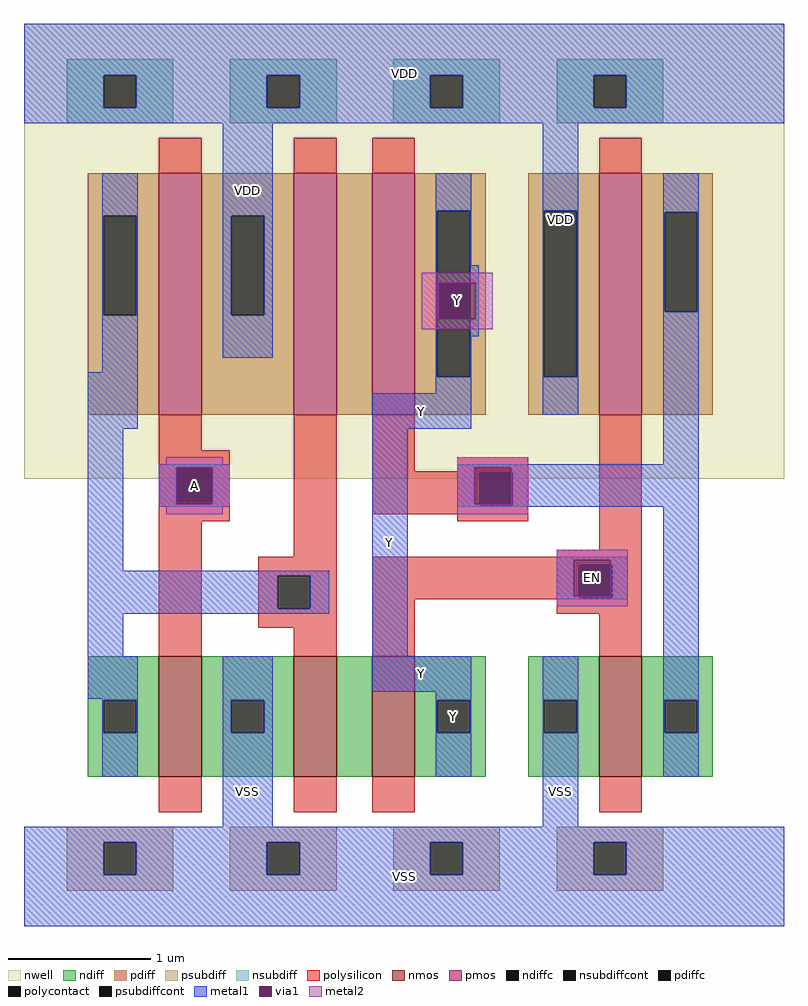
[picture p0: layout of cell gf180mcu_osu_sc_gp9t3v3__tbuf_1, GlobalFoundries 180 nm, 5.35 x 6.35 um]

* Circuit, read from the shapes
.subckt gf180mcu_osu_sc_gp9t3v3__tbuf_1 A Y EN VDD VSS
XM1 VSS A n1 VSS nfet_03v3 w=0.85u l=0.3u
XM2 n2 n1 VSS VSS nfet_03v3 w=0.85u l=0.3u
XM3 Y EN n2 VSS nfet_03v3 w=0.85u l=0.3u
XM4 n3 EN VSS VSS nfet_03v3 w=0.85u l=0.3u
XM5 VDD A n1 VDD pfet_03v3 w=1.7u l=0.3u
XM6 n4 n1 VDD VDD pfet_03v3 w=1.7u l=0.3u
XM7 Y n3 n4 VDD pfet_03v3 w=1.7u l=0.3u
XM8 n3 EN VDD VDD pfet_03v3 w=1.7u l=0.3u
.ends

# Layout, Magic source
magic
tech gf180mcuA
magscale 1 10
<< nwell >>
rect 0 630 1070 1270
<< nmos >>
rect 190 210 250 380
rect 380 210 440 380
rect 490 210 550 380
rect 810 210 870 380
<< pmos >>
rect 190 720 250 1060
rect 380 720 440 1060
rect 490 720 550 1060
rect 810 720 870 1060
<< ndiff >>
rect 90 318 190 380
rect 90 272 112 318
rect 158 272 190 318
rect 90 210 190 272
rect 250 318 380 380
rect 250 272 292 318
rect 338 272 380 318
rect 250 210 380 272
rect 440 210 490 380
rect 550 318 650 380
rect 550 272 582 318
rect 628 272 650 318
rect 550 210 650 272
rect 710 318 810 380
rect 710 272 732 318
rect 778 272 810 318
rect 710 210 810 272
rect 870 318 970 380
rect 870 272 902 318
rect 948 272 970 318
rect 870 210 970 272
<< pdiff >>
rect 90 1000 190 1060
rect 90 860 112 1000
rect 158 860 190 1000
rect 90 720 190 860
rect 250 1000 380 1060
rect 250 860 292 1000
rect 338 860 380 1000
rect 250 720 380 860
rect 440 720 490 1060
rect 550 1007 650 1060
rect 550 773 582 1007
rect 628 773 650 1007
rect 550 720 650 773
rect 710 1007 810 1060
rect 710 773 732 1007
rect 778 773 810 1007
rect 710 720 810 773
rect 870 1005 970 1060
rect 870 865 902 1005
rect 948 865 970 1005
rect 870 720 970 865
<< ndiffc >>
rect 112 272 158 318
rect 292 272 338 318
rect 582 272 628 318
rect 732 272 778 318
rect 902 272 948 318
<< pdiffc >>
rect 112 860 158 1000
rect 292 860 338 1000
rect 582 773 628 1007
rect 732 773 778 1007
rect 902 865 948 1005
<< psubdiff >>
rect 60 118 210 140
rect 60 72 112 118
rect 158 72 210 118
rect 60 50 210 72
rect 290 118 440 140
rect 290 72 342 118
rect 388 72 440 118
rect 290 50 440 72
rect 520 118 670 140
rect 520 72 572 118
rect 618 72 670 118
rect 520 50 670 72
rect 750 118 900 140
rect 750 72 802 118
rect 848 72 900 118
rect 750 50 900 72
<< nsubdiff >>
rect 60 1198 210 1220
rect 60 1152 112 1198
rect 158 1152 210 1198
rect 60 1130 210 1152
rect 290 1198 440 1220
rect 290 1152 342 1198
rect 388 1152 440 1198
rect 290 1130 440 1152
rect 520 1198 670 1220
rect 520 1152 572 1198
rect 618 1152 670 1198
rect 520 1130 670 1152
rect 750 1198 900 1220
rect 750 1152 802 1198
rect 848 1152 900 1198
rect 750 1130 900 1152
<< psubdiffcont >>
rect 112 72 158 118
rect 342 72 388 118
rect 572 72 618 118
rect 802 72 848 118
<< nsubdiffcont >>
rect 112 1152 158 1198
rect 342 1152 388 1198
rect 572 1152 618 1198
rect 802 1152 848 1198
<< polysilicon >>
rect 190 1060 250 1110
rect 380 1060 440 1110
rect 490 1060 550 1110
rect 810 1060 870 1110
rect 190 670 250 720
rect 190 643 290 670
rect 190 597 217 643
rect 263 597 290 643
rect 190 570 290 597
rect 190 380 250 570
rect 380 520 440 720
rect 490 640 550 720
rect 610 640 710 660
rect 490 638 710 640
rect 490 592 642 638
rect 688 592 710 638
rect 490 580 710 592
rect 610 570 710 580
rect 810 530 870 720
rect 750 520 870 530
rect 330 493 440 520
rect 330 447 357 493
rect 403 447 440 493
rect 330 420 440 447
rect 380 380 440 420
rect 490 508 870 520
rect 490 462 782 508
rect 828 462 870 508
rect 490 460 870 462
rect 490 380 550 460
rect 750 440 870 460
rect 810 380 870 440
rect 190 160 250 210
rect 380 160 440 210
rect 490 160 550 210
rect 810 160 870 210
<< polycontact >>
rect 217 597 263 643
rect 642 592 688 638
rect 357 447 403 493
rect 782 462 828 508
<< metal1 >>
rect 0 1198 1070 1270
rect 0 1152 112 1198
rect 158 1152 342 1198
rect 388 1152 572 1198
rect 618 1152 802 1198
rect 848 1152 1070 1198
rect 0 1130 1070 1152
rect 110 1000 160 1060
rect 110 860 112 1000
rect 158 860 160 1000
rect 110 780 160 860
rect 280 1000 350 1130
rect 280 860 292 1000
rect 338 860 350 1000
rect 280 800 350 860
rect 580 1007 630 1060
rect 90 700 160 780
rect 580 773 582 1007
rect 628 930 630 1007
rect 730 1007 780 1130
rect 628 906 640 930
rect 636 854 640 906
rect 628 830 640 854
rect 628 773 630 830
rect 580 750 630 773
rect 490 700 630 750
rect 730 773 732 1007
rect 778 773 780 1007
rect 730 720 780 773
rect 900 1005 950 1060
rect 900 865 902 1005
rect 948 865 950 1005
rect 90 500 140 700
rect 190 646 290 650
rect 190 594 214 646
rect 266 594 290 646
rect 190 590 290 594
rect 90 493 430 500
rect 90 447 357 493
rect 403 447 430 493
rect 90 440 430 447
rect 90 380 140 440
rect 490 380 540 700
rect 900 650 950 865
rect 610 646 950 650
rect 610 594 634 646
rect 686 638 950 646
rect 610 592 642 594
rect 688 592 950 638
rect 610 590 950 592
rect 750 516 850 520
rect 750 464 774 516
rect 826 508 850 516
rect 750 462 782 464
rect 828 462 850 508
rect 750 460 850 462
rect 90 320 160 380
rect 110 318 160 320
rect 110 272 112 318
rect 158 272 160 318
rect 110 210 160 272
rect 280 318 350 380
rect 490 330 630 380
rect 280 272 292 318
rect 338 272 350 318
rect 280 140 350 272
rect 580 318 630 330
rect 580 272 582 318
rect 628 272 630 318
rect 580 210 630 272
rect 730 318 780 380
rect 730 272 732 318
rect 778 272 780 318
rect 730 140 780 272
rect 900 318 950 590
rect 900 272 902 318
rect 948 272 950 318
rect 900 210 950 272
rect 0 118 1070 140
rect 0 72 112 118
rect 158 72 342 118
rect 388 72 572 118
rect 618 72 802 118
rect 848 72 1070 118
rect 0 0 1070 72
<< via1 >>
rect 584 854 628 906
rect 628 854 636 906
rect 214 643 266 646
rect 214 597 217 643
rect 217 597 263 643
rect 263 597 266 643
rect 214 594 266 597
rect 634 638 686 646
rect 634 594 642 638
rect 642 594 686 638
rect 774 508 826 516
rect 774 464 782 508
rect 782 464 826 508
<< metal2 >>
rect 560 906 660 920
rect 560 854 584 906
rect 636 854 660 906
rect 560 840 660 854
rect 200 650 280 660
rect 190 646 290 650
rect 190 594 214 646
rect 266 594 290 646
rect 190 590 290 594
rect 610 646 710 660
rect 610 594 634 646
rect 686 594 710 646
rect 200 580 280 590
rect 610 580 710 594
rect 750 516 850 530
rect 750 464 774 516
rect 826 464 850 516
rect 750 450 850 464
<< labels >>
rlabel via1 s 214 594 266 646 4 A
port 1 nsew signal input
rlabel via1 s 584 854 636 906 4 Y
port 2 nsew signal output
rlabel via1 s 774 464 826 516 4 EN
port 3 nsew signal input
rlabel metal1 s 280 800 350 1270 4 VDD
port 4 nsew power bidirectional abutment
rlabel metal1 s 280 0 350 380 4 VSS
port 5 nsew ground bidirectional abutment
rlabel metal1 s 730 720 780 1270 1 VDD
port 4 nsew power bidirectional abutment
rlabel metal1 s 0 1130 1070 1270 1 VDD
port 4 nsew power bidirectional abutment
rlabel metal1 s 730 0 780 380 1 VSS
port 5 nsew ground bidirectional abutment
rlabel metal1 s 0 0 1070 140 1 VSS
port 5 nsew ground bidirectional abutment
rlabel metal2 s 200 580 280 660 1 A
port 1 nsew signal input
rlabel metal2 s 190 590 290 650 1 A
port 1 nsew signal input
rlabel metal1 s 190 590 290 650 1 A
port 1 nsew signal input
rlabel metal2 s 750 450 850 530 1 EN
port 3 nsew signal input
rlabel metal1 s 750 460 850 520 1 EN
port 3 nsew signal input
rlabel metal2 s 560 840 660 920 1 Y
port 2 nsew signal output
rlabel metal1 s 490 330 540 750 1 Y
port 2 nsew signal output
rlabel metal1 s 490 700 630 750 1 Y
port 2 nsew signal output
rlabel metal1 s 580 210 630 380 1 Y
port 2 nsew signal output
rlabel metal1 s 490 330 630 380 1 Y
port 2 nsew signal output
rlabel metal1 s 580 700 630 1060 1 Y
port 2 nsew signal output
rlabel metal1 s 580 830 640 930 1 Y
port 2 nsew signal output
<< properties >>
string FIXED_BBOX 0 0 1070 1270
string GDS_END 367416
string GDS_FILE $PDKPATH/libs.ref/gf180mcu_osu_sc_gp9t3v3/gds/gf180mcu_osu_sc_gp9t3v3.gds
string GDS_START 360498
string LEFclass CORE
string LEFsite gf180mcu_osu_sc_gp9t3v3
string LEFsymmetry X Y
<< end >>
